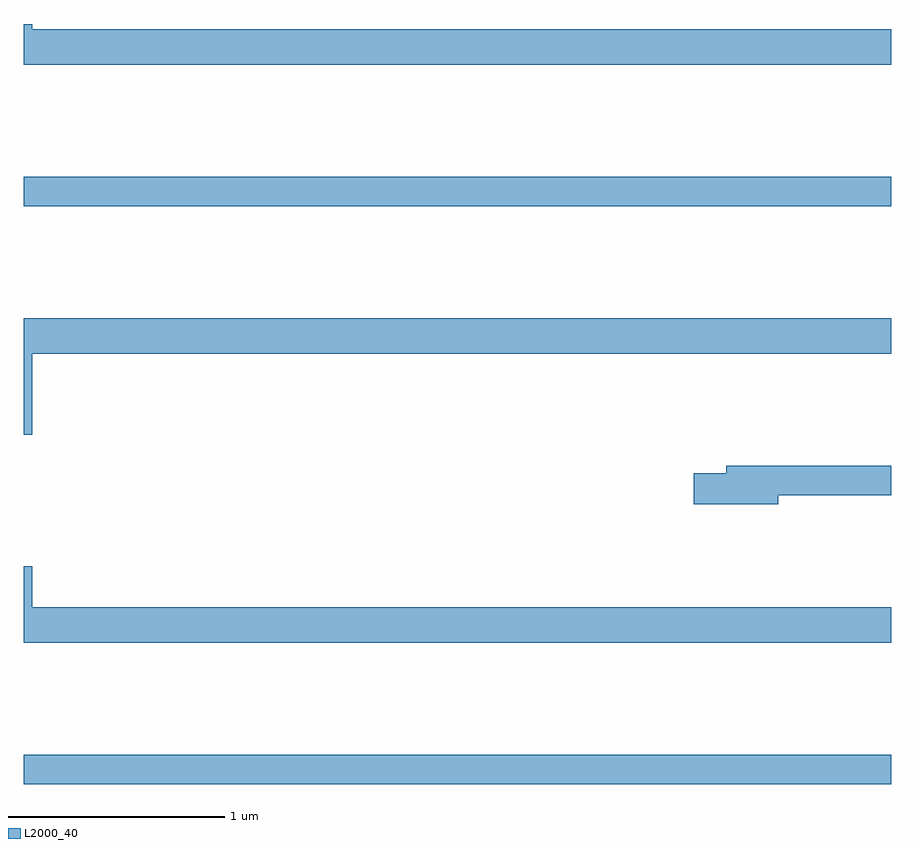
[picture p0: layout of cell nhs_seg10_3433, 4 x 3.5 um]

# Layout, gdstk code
import gdstk
lib = gdstk.Library(unit=1e-6, precision=1e-09)
def R(c, l, rs):  # rectangles x0, y0, x1, y1
    for r in rs: c.add(gdstk.rectangle(r[:2], r[2:], *l))
def P(c, l, *ps):  # polygons
    for p in ps: c.add(gdstk.Polygon(p, *l))
L2000_40 = (2000, 40)

nhs_seg10_3433 = lib.new_cell('nhs_seg10_3433')
R(nhs_seg10_3433, L2000_40, [(297,1300.996,301,1301.132), (297,1303.66,301,1303.796)])
P(nhs_seg10_3433, L2000_40, [(297,1304.5),(297,1304.312),(301,1304.312),(301,1304.476),(297.04,1304.476),(297.04,1304.5)],
  [(297.04,1302.98),(301,1302.98),(301,1303.144),(297,1303.144),(297,1302.606),(297.04,1302.606)],
  [(300.478,1302.328),(301,1302.328),(301,1302.464),(300.239,1302.464),(300.239,1302.428),(300.09,1302.428),(300.09,1302.286),(300.478,1302.286)],
  [(301,1301.812),(297.04,1301.812),(297.04,1302.001),(297,1302.001),(297,1301.648),(301,1301.648)])

lib.write_gds('nhs_seg10_3433.gds')
